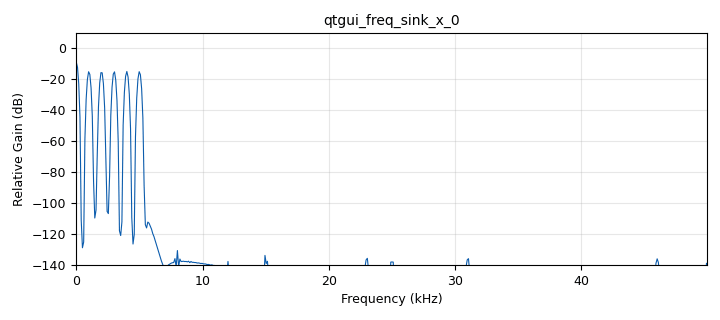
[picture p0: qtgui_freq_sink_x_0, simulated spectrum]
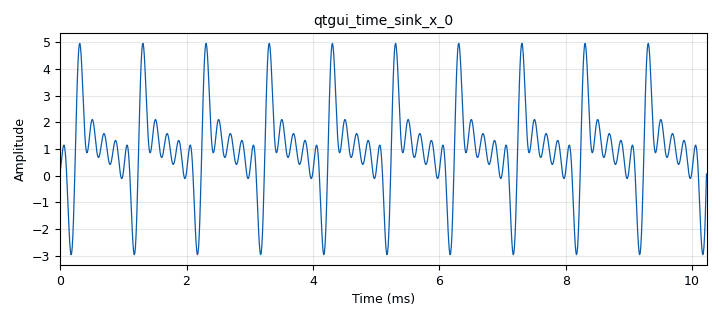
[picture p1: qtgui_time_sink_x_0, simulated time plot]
<?xml version='1.0' encoding='utf-8'?>
<?grc format='1' created='3.7.11'?>
<flow_graph>
<block>
<key>options</key>
<param><key>id</key><value>top_block</value></param>
<param><key>category</key><value>Custom</value></param>
<param><key>generate_options</key><value>qt_gui</value></param>
</block>
<block>
<key>variable</key>
<param><key>id</key><value>Freq_fondamentale</value></param>
<param><key>value</key><value>1000</value></param>
</block>
<block>
<key>variable_qtgui_range</key>
<param><key>id</key><value>a0</value></param>
<param><key>value</key><value>1</value></param>
<param><key>label</key><value>a0</value></param>
<param><key>orient</key><value>Qt.Horizontal</value></param>
<param><key>start</key><value>-2</value></param>
<param><key>step</key><value>0.1</value></param>
<param><key>stop</key><value>2</value></param>
<param><key>widget</key><value>slider</value></param>
</block>
<block>
<key>variable_qtgui_range</key>
<param><key>id</key><value>a1</value></param>
<param><key>value</key><value>0</value></param>
<param><key>label</key><value>a1</value></param>
<param><key>orient</key><value>Qt.Horizontal</value></param>
<param><key>start</key><value>-2</value></param>
<param><key>step</key><value>0.1</value></param>
<param><key>stop</key><value>2</value></param>
<param><key>widget</key><value>slider</value></param>
</block>
<block>
<key>variable_qtgui_range</key>
<param><key>id</key><value>a2</value></param>
<param><key>value</key><value>0</value></param>
<param><key>label</key><value>a2</value></param>
<param><key>orient</key><value>Qt.Horizontal</value></param>
<param><key>start</key><value>-2</value></param>
<param><key>step</key><value>0.1</value></param>
<param><key>stop</key><value>2</value></param>
<param><key>widget</key><value>slider</value></param>
</block>
<block>
<key>variable_qtgui_range</key>
<param><key>id</key><value>a3</value></param>
<param><key>value</key><value>0</value></param>
<param><key>label</key><value>a3</value></param>
<param><key>orient</key><value>Qt.Horizontal</value></param>
<param><key>start</key><value>-2</value></param>
<param><key>step</key><value>0.1</value></param>
<param><key>stop</key><value>2</value></param>
<param><key>widget</key><value>slider</value></param>
</block>
<block>
<key>variable_qtgui_range</key>
<param><key>id</key><value>a4</value></param>
<param><key>value</key><value>0</value></param>
<param><key>label</key><value>a4</value></param>
<param><key>orient</key><value>Qt.Horizontal</value></param>
<param><key>start</key><value>-2</value></param>
<param><key>step</key><value>0.1</value></param>
<param><key>stop</key><value>2</value></param>
<param><key>widget</key><value>slider</value></param>
</block>
<block>
<key>variable_qtgui_range</key>
<param><key>id</key><value>a5</value></param>
<param><key>value</key><value>0</value></param>
<param><key>label</key><value>a5</value></param>
<param><key>orient</key><value>Qt.Horizontal</value></param>
<param><key>start</key><value>-2</value></param>
<param><key>step</key><value>0.1</value></param>
<param><key>stop</key><value>2</value></param>
<param><key>widget</key><value>slider</value></param>
</block>
<block>
<key>variable_qtgui_range</key>
<param><key>id</key><value>b1</value></param>
<param><key>value</key><value>1</value></param>
<param><key>label</key><value>b1</value></param>
<param><key>orient</key><value>Qt.Horizontal</value></param>
<param><key>start</key><value>-2</value></param>
<param><key>step</key><value>0.1</value></param>
<param><key>stop</key><value>2</value></param>
<param><key>widget</key><value>slider</value></param>
</block>
<block>
<key>variable_qtgui_range</key>
<param><key>id</key><value>b2</value></param>
<param><key>value</key><value>1</value></param>
<param><key>label</key><value>b2</value></param>
<param><key>orient</key><value>Qt.Horizontal</value></param>
<param><key>start</key><value>-2</value></param>
<param><key>step</key><value>0.1</value></param>
<param><key>stop</key><value>2</value></param>
<param><key>widget</key><value>slider</value></param>
</block>
<block>
<key>variable_qtgui_range</key>
<param><key>id</key><value>b3</value></param>
<param><key>value</key><value>1</value></param>
<param><key>label</key><value>b3</value></param>
<param><key>orient</key><value>Qt.Horizontal</value></param>
<param><key>start</key><value>-2</value></param>
<param><key>step</key><value>0.1</value></param>
<param><key>stop</key><value>2</value></param>
<param><key>widget</key><value>slider</value></param>
</block>
<block>
<key>variable_qtgui_range</key>
<param><key>id</key><value>b4</value></param>
<param><key>value</key><value>1</value></param>
<param><key>label</key><value>b4</value></param>
<param><key>orient</key><value>Qt.Horizontal</value></param>
<param><key>start</key><value>-2</value></param>
<param><key>step</key><value>0.1</value></param>
<param><key>stop</key><value>2</value></param>
<param><key>widget</key><value>slider</value></param>
</block>
<block>
<key>variable_qtgui_range</key>
<param><key>id</key><value>b5</value></param>
<param><key>value</key><value>1</value></param>
<param><key>label</key><value>b5</value></param>
<param><key>orient</key><value>Qt.Horizontal</value></param>
<param><key>start</key><value>-2</value></param>
<param><key>step</key><value>0.1</value></param>
<param><key>stop</key><value>2</value></param>
<param><key>widget</key><value>slider</value></param>
</block>
<block>
<key>variable</key>
<param><key>id</key><value>samp_rate</value></param>
<param><key>value</key><value>100000</value></param>
</block>
<block>
<key>analog_sig_source_x</key>
<param><key>id</key><value>analog_sig_source_x_0</value></param>
<param><key>amp</key><value>a1</value></param>
<param><key>freq</key><value>Freq_fondamentale</value></param>
<param><key>offset</key><value>0</value></param>
<param><key>type</key><value>float</value></param>
<param><key>samp_rate</key><value>samp_rate</value></param>
<param><key>waveform</key><value>analog.GR_COS_WAVE</value></param>
</block>
<block>
<key>analog_sig_source_x</key>
<param><key>id</key><value>analog_sig_source_x_0_0</value></param>
<param><key>amp</key><value>b1</value></param>
<param><key>freq</key><value>Freq_fondamentale</value></param>
<param><key>offset</key><value>0</value></param>
<param><key>type</key><value>float</value></param>
<param><key>samp_rate</key><value>samp_rate</value></param>
<param><key>waveform</key><value>analog.GR_SIN_WAVE</value></param>
</block>
<block>
<key>analog_sig_source_x</key>
<param><key>id</key><value>analog_sig_source_x_0_0_0</value></param>
<param><key>amp</key><value>b2</value></param>
<param><key>freq</key><value>2*Freq_fondamentale</value></param>
<param><key>offset</key><value>0</value></param>
<param><key>type</key><value>float</value></param>
<param><key>samp_rate</key><value>samp_rate</value></param>
<param><key>waveform</key><value>analog.GR_SIN_WAVE</value></param>
</block>
<block>
<key>analog_sig_source_x</key>
<param><key>id</key><value>analog_sig_source_x_0_0_0_0</value></param>
<param><key>amp</key><value>b3</value></param>
<param><key>freq</key><value>3*Freq_fondamentale</value></param>
<param><key>offset</key><value>0</value></param>
<param><key>type</key><value>float</value></param>
<param><key>samp_rate</key><value>samp_rate</value></param>
<param><key>waveform</key><value>analog.GR_SIN_WAVE</value></param>
</block>
<block>
<key>analog_sig_source_x</key>
<param><key>id</key><value>analog_sig_source_x_0_0_0_0_0</value></param>
<param><key>amp</key><value>b4</value></param>
<param><key>freq</key><value>4*Freq_fondamentale</value></param>
<param><key>offset</key><value>0</value></param>
<param><key>type</key><value>float</value></param>
<param><key>samp_rate</key><value>samp_rate</value></param>
<param><key>waveform</key><value>analog.GR_SIN_WAVE</value></param>
</block>
<block>
<key>analog_sig_source_x</key>
<param><key>id</key><value>analog_sig_source_x_0_0_0_0_1</value></param>
<param><key>amp</key><value>b5</value></param>
<param><key>freq</key><value>5*Freq_fondamentale</value></param>
<param><key>offset</key><value>0</value></param>
<param><key>type</key><value>float</value></param>
<param><key>samp_rate</key><value>samp_rate</value></param>
<param><key>waveform</key><value>analog.GR_SIN_WAVE</value></param>
</block>
<block>
<key>analog_sig_source_x</key>
<param><key>id</key><value>analog_sig_source_x_0_1</value></param>
<param><key>amp</key><value>a2</value></param>
<param><key>freq</key><value>2*Freq_fondamentale</value></param>
<param><key>offset</key><value>0</value></param>
<param><key>type</key><value>float</value></param>
<param><key>samp_rate</key><value>samp_rate</value></param>
<param><key>waveform</key><value>analog.GR_COS_WAVE</value></param>
</block>
<block>
<key>analog_sig_source_x</key>
<param><key>id</key><value>analog_sig_source_x_0_1_0</value></param>
<param><key>amp</key><value>a3</value></param>
<param><key>freq</key><value>3*Freq_fondamentale</value></param>
<param><key>offset</key><value>0</value></param>
<param><key>type</key><value>float</value></param>
<param><key>samp_rate</key><value>samp_rate</value></param>
<param><key>waveform</key><value>analog.GR_COS_WAVE</value></param>
</block>
<block>
<key>analog_sig_source_x</key>
<param><key>id</key><value>analog_sig_source_x_0_1_0_0</value></param>
<param><key>amp</key><value>a4</value></param>
<param><key>freq</key><value>4*Freq_fondamentale</value></param>
<param><key>offset</key><value>0</value></param>
<param><key>type</key><value>float</value></param>
<param><key>samp_rate</key><value>samp_rate</value></param>
<param><key>waveform</key><value>analog.GR_COS_WAVE</value></param>
</block>
<block>
<key>analog_sig_source_x</key>
<param><key>id</key><value>analog_sig_source_x_0_1_0_1</value></param>
<param><key>amp</key><value>a5</value></param>
<param><key>freq</key><value>5*Freq_fondamentale</value></param>
<param><key>offset</key><value>0</value></param>
<param><key>type</key><value>float</value></param>
<param><key>samp_rate</key><value>samp_rate</value></param>
<param><key>waveform</key><value>analog.GR_COS_WAVE</value></param>
</block>
<block>
<key>analog_sig_source_x</key>
<param><key>id</key><value>analog_sig_source_x_1</value></param>
<param><key>amp</key><value>a0</value></param>
<param><key>freq</key><value>0</value></param>
<param><key>offset</key><value>0</value></param>
<param><key>type</key><value>float</value></param>
<param><key>samp_rate</key><value>samp_rate</value></param>
<param><key>waveform</key><value>analog.GR_CONST_WAVE</value></param>
</block>
<block>
<key>blocks_add_xx</key>
<param><key>id</key><value>blocks_add_xx_0</value></param>
<param><key>type</key><value>float</value></param>
<param><key>num_inputs</key><value>11</value></param>
</block>
<block>
<key>blocks_throttle</key>
<param><key>id</key><value>blocks_throttle_0</value></param>
<param><key>samples_per_second</key><value>samp_rate</value></param>
<param><key>type</key><value>float</value></param>
</block>
<block>
<key>blocks_throttle</key>
<param><key>id</key><value>blocks_throttle_0_0</value></param>
<param><key>samples_per_second</key><value>samp_rate</value></param>
<param><key>type</key><value>float</value></param>
</block>
<block>
<key>blocks_throttle</key>
<param><key>id</key><value>blocks_throttle_0_0_0</value></param>
<param><key>samples_per_second</key><value>samp_rate</value></param>
<param><key>type</key><value>float</value></param>
</block>
<block>
<key>blocks_throttle</key>
<param><key>id</key><value>blocks_throttle_0_0_0_0</value></param>
<param><key>samples_per_second</key><value>samp_rate</value></param>
<param><key>type</key><value>float</value></param>
</block>
<block>
<key>blocks_throttle</key>
<param><key>id</key><value>blocks_throttle_0_0_0_0_0</value></param>
<param><key>samples_per_second</key><value>samp_rate</value></param>
<param><key>type</key><value>float</value></param>
</block>
<block>
<key>blocks_throttle</key>
<param><key>id</key><value>blocks_throttle_0_0_0_0_1</value></param>
<param><key>samples_per_second</key><value>samp_rate</value></param>
<param><key>type</key><value>float</value></param>
</block>
<block>
<key>blocks_throttle</key>
<param><key>id</key><value>blocks_throttle_0_1</value></param>
<param><key>samples_per_second</key><value>samp_rate</value></param>
<param><key>type</key><value>float</value></param>
</block>
<block>
<key>blocks_throttle</key>
<param><key>id</key><value>blocks_throttle_0_1_0</value></param>
<param><key>samples_per_second</key><value>samp_rate</value></param>
<param><key>type</key><value>float</value></param>
</block>
<block>
<key>blocks_throttle</key>
<param><key>id</key><value>blocks_throttle_0_1_0_0</value></param>
<param><key>samples_per_second</key><value>samp_rate</value></param>
<param><key>type</key><value>float</value></param>
</block>
<block>
<key>blocks_throttle</key>
<param><key>id</key><value>blocks_throttle_0_1_0_1</value></param>
<param><key>samples_per_second</key><value>samp_rate</value></param>
<param><key>type</key><value>float</value></param>
</block>
<block>
<key>qtgui_freq_sink_x</key>
<param><key>id</key><value>qtgui_freq_sink_x_0</value></param>
<param><key>bw</key><value>samp_rate</value></param>
<param><key>fc</key><value>0</value></param>
<param><key>fftsize</key><value>1024</value></param>
<param><key>showports</key><value>True</value></param>
<param><key>freqhalf</key><value>False</value></param>
<param><key>type</key><value>float</value></param>
<param><key>wintype</key><value>firdes.WIN_BLACKMAN_hARRIS</value></param>
</block>
<block>
<key>qtgui_time_sink_x</key>
<param><key>id</key><value>qtgui_time_sink_x_0</value></param>
<param><key>autoscale</key><value>True</value></param>
<param><key>ctrlpanel</key><value>True</value></param>
<param><key>grid</key><value>True</value></param>
<param><key>color1</key><value>"blue"</value></param>
<param><key>label1</key><value></value></param>
<param><key>size</key><value>1024</value></param>
<param><key>srate</key><value>samp_rate</value></param>
<param><key>type</key><value>float</value></param>
</block>
<connection><source_block_id>analog_sig_source_x_0</source_block_id><sink_block_id>blocks_throttle_0</sink_block_id><source_key>0</source_key><sink_key>0</sink_key></connection>
<connection><source_block_id>analog_sig_source_x_0_0</source_block_id><sink_block_id>blocks_throttle_0_0</sink_block_id><source_key>0</source_key><sink_key>0</sink_key></connection>
<connection><source_block_id>analog_sig_source_x_0_0_0</source_block_id><sink_block_id>blocks_throttle_0_0_0</sink_block_id><source_key>0</source_key><sink_key>0</sink_key></connection>
<connection><source_block_id>analog_sig_source_x_0_0_0_0</source_block_id><sink_block_id>blocks_throttle_0_0_0_0</sink_block_id><source_key>0</source_key><sink_key>0</sink_key></connection>
<connection><source_block_id>analog_sig_source_x_0_0_0_0_0</source_block_id><sink_block_id>blocks_throttle_0_0_0_0_0</sink_block_id><source_key>0</source_key><sink_key>0</sink_key></connection>
<connection><source_block_id>analog_sig_source_x_0_0_0_0_1</source_block_id><sink_block_id>blocks_throttle_0_0_0_0_1</sink_block_id><source_key>0</source_key><sink_key>0</sink_key></connection>
<connection><source_block_id>analog_sig_source_x_0_1</source_block_id><sink_block_id>blocks_throttle_0_1</sink_block_id><source_key>0</source_key><sink_key>0</sink_key></connection>
<connection><source_block_id>analog_sig_source_x_0_1_0</source_block_id><sink_block_id>blocks_throttle_0_1_0</sink_block_id><source_key>0</source_key><sink_key>0</sink_key></connection>
<connection><source_block_id>analog_sig_source_x_0_1_0_0</source_block_id><sink_block_id>blocks_throttle_0_1_0_0</sink_block_id><source_key>0</source_key><sink_key>0</sink_key></connection>
<connection><source_block_id>analog_sig_source_x_0_1_0_1</source_block_id><sink_block_id>blocks_throttle_0_1_0_1</sink_block_id><source_key>0</source_key><sink_key>0</sink_key></connection>
<connection><source_block_id>analog_sig_source_x_1</source_block_id><sink_block_id>blocks_add_xx_0</sink_block_id><source_key>0</source_key><sink_key>0</sink_key></connection>
<connection><source_block_id>blocks_add_xx_0</source_block_id><sink_block_id>qtgui_freq_sink_x_0</sink_block_id><source_key>0</source_key><sink_key>0</sink_key></connection>
<connection><source_block_id>blocks_add_xx_0</source_block_id><sink_block_id>qtgui_time_sink_x_0</sink_block_id><source_key>0</source_key><sink_key>0</sink_key></connection>
<connection><source_block_id>blocks_throttle_0</source_block_id><sink_block_id>blocks_add_xx_0</sink_block_id><source_key>0</source_key><sink_key>1</sink_key></connection>
<connection><source_block_id>blocks_throttle_0_0</source_block_id><sink_block_id>blocks_add_xx_0</sink_block_id><source_key>0</source_key><sink_key>2</sink_key></connection>
<connection><source_block_id>blocks_throttle_0_0_0</source_block_id><sink_block_id>blocks_add_xx_0</sink_block_id><source_key>0</source_key><sink_key>4</sink_key></connection>
<connection><source_block_id>blocks_throttle_0_0_0_0</source_block_id><sink_block_id>blocks_add_xx_0</sink_block_id><source_key>0</source_key><sink_key>6</sink_key></connection>
<connection><source_block_id>blocks_throttle_0_0_0_0_0</source_block_id><sink_block_id>blocks_add_xx_0</sink_block_id><source_key>0</source_key><sink_key>8</sink_key></connection>
<connection><source_block_id>blocks_throttle_0_0_0_0_1</source_block_id><sink_block_id>blocks_add_xx_0</sink_block_id><source_key>0</source_key><sink_key>10</sink_key></connection>
<connection><source_block_id>blocks_throttle_0_1</source_block_id><sink_block_id>blocks_add_xx_0</sink_block_id><source_key>0</source_key><sink_key>3</sink_key></connection>
<connection><source_block_id>blocks_throttle_0_1_0</source_block_id><sink_block_id>blocks_add_xx_0</sink_block_id><source_key>0</source_key><sink_key>5</sink_key></connection>
<connection><source_block_id>blocks_throttle_0_1_0_0</source_block_id><sink_block_id>blocks_add_xx_0</sink_block_id><source_key>0</source_key><sink_key>7</sink_key></connection>
<connection><source_block_id>blocks_throttle_0_1_0_1</source_block_id><sink_block_id>blocks_add_xx_0</sink_block_id><source_key>0</source_key><sink_key>9</sink_key></connection>
</flow_graph>
